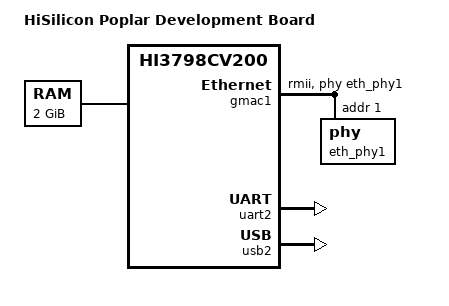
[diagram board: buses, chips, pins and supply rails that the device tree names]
/*
 * DTS File for HiSilicon Poplar Development Board
 *
 * Copyright (c) 2016-2017 HiSilicon Technologies Co., Ltd.
 *
 * Released under the GPLv2 only.
 * SPDX-License-Identifier: GPL-2.0
 */

/dts-v1/;

#include <dt-bindings/gpio/gpio.h>
#include "hi3798cv200.dtsi"

/ {
	model = "HiSilicon Poplar Development Board";
	compatible = "hisilicon,hi3798cv200-poplar", "hisilicon,hi3798cv200";

	aliases {
		serial0 = &uart0;
		serial2 = &uart2;
	};

	chosen {
		stdout-path = [00];
	};

	memory@0 {
		device_type = "memory";
		reg = <0x0 0x0 0x0 0x80000000>;
	};
};

&gmac1 {
	status = "okay";
    phy-mode = "rmii"; 
    phy-handle = <&eth_phy1>;

    /* 必须显式处理复位 */
    resets = <&crg 0xcc 9>, <&crg 0xcc 11>;
    reset-names = "mac_core", "mac_ifc";

    hisilicon,phy-reset-delays-us = <10000 10000 30000>;
    hisilicon,phy-reset-gpio = <&gpio0 0 1>; /* 1 表示低电平复位 */

    eth_phy1: phy@1 {
        reg = <1>;
    };
};

&uart2 {
	status = "okay";
	label = "LS-UART0";
};

&usb2 {
	status = "okay";
};

